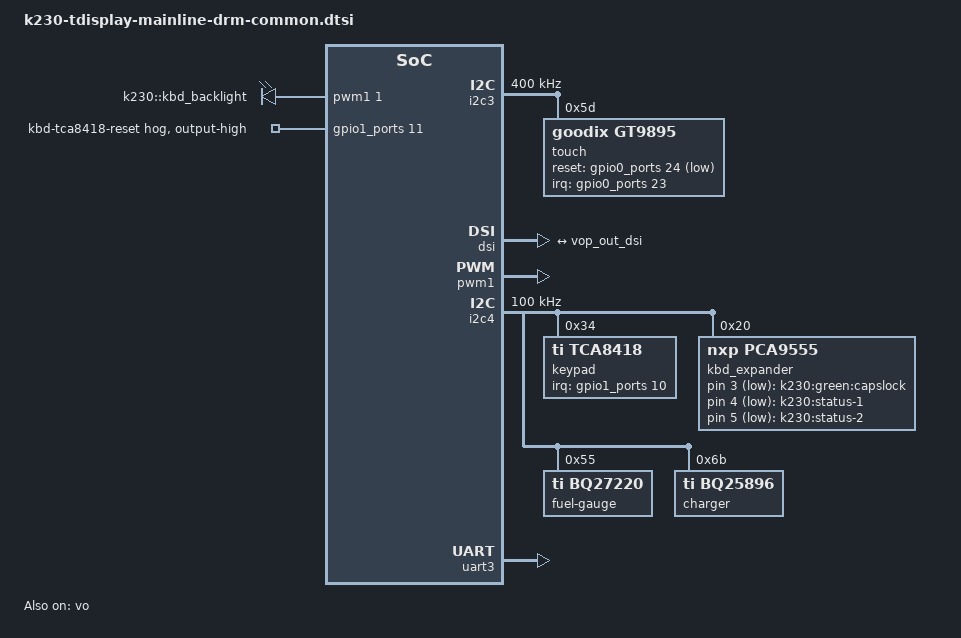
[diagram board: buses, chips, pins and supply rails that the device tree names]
// SPDX-License-Identifier: GPL-2.0 OR MIT
// Display and touch controllers shared by the mainline panel DTB
// (k230-tdisplay-mainline-drm.dts) and the mainline HDMI DTB
// (k230-tdisplay-mainline-drm-hdmi.dts). Include after k230-tdisplay-mainline.dts.

// Mainline's k230.dtsi currently has no display or I2C controller nodes.
// Register ranges, VO/DSI IRQ, and I2C3 range/IRQ follow the pinned vendor
// k230.dtsi (7d4e1f444f461dbe3833bd99a4640e7b6c2cd529). The K230 mainline
// clock driver exposes the named display and LS-I2C clocks in the included
// binding header. The imported Canaan VO/DSI code does not call clk_get() or
// reset_control_get(); it programs its display/PHY registers directly, so
// this DTS does not attach unused, guessed clock/reset phandles to those
// nodes. I2C3 uses the mainline I2C3 functional and APB clocks; its reset ID
// is available but the generic DesignWare I2C driver does not consume it.
// Board-level clocking, reset timing, pinmux, and display power behavior
// still require physical probe evidence.

/ {
	// Stage 1 scans this XRGB buffer until Linux owns the panel. The values
	// come from nix/boot-splash.nix through nix/device-tree-mainline-drm.nix's
	// preprocessor definitions, shared with U-Boot's Kconfig fragment and with
	// the vendor tree (nix/dts/k230-tdisplay.dts). Without this node the
	// kernel may allocate over the buffer. openspec/changes/
	// the-mainline-kernel-keeps-the-boot-splash task 1.1.
	reserved-memory {
		#address-cells = <2>;
		#size-cells = <2>;
		ranges;

		splash_framebuffer: framebuffer@K230_SPLASH_FRAMEBUFFER_UNIT_ADDRESS {
			reg = <0x0 K230_SPLASH_FRAMEBUFFER_ADDRESS
			       0x0 K230_SPLASH_FRAMEBUFFER_SIZE>;
			no-map;
		};
	};
};

/ {
	soc {
		// Vendor genpd controller; available only with the DRM kernel port.
		sysctl_power: power-controller@91103000 {
			compatible = "canaan, k230-sysctl-power";
			reg = <0x0 0x91103000 0x0 0x1000>;
			#power-domain-cells = <1>;
		};
		// Panel touch: vendor k230.dtsi's i2c3 controller node translated
		// to the real mainline K230 clock provider IDs. Upstream's DW I2C
		// platform driver accepts an unnamed functional clock and an
		// optional "pclk" interface clock.
		i2c3: i2c@91408000 {
			compatible = "snps,designware-i2c";
			reg = <0x0 0x91408000 0x0 0x1000>;
			interrupts = <24 IRQ_TYPE_LEVEL_HIGH>;
			#address-cells = <1>;
			#size-cells = <0>;
			clocks = <&sysclk K230_LS_I2C3_RATE>,
				 <&sysclk K230_LS_I2C3_APB_GATE>;
			clock-names = "ref", "pclk";
			clock-frequency = <400000>;
			status = "okay";

			touch: touchscreen@5d {
				compatible = "goodix,gt9895", "goodix,gt9916";
				reg = <0x5d>;
				reset-gpios = <&gpio0_ports 24 GPIO_ACTIVE_LOW>;
				interrupt-parent = <&gpio0_ports>;
				interrupts = <23 IRQ_TYPE_LEVEL_LOW>;
				/* The controller reports X 0..1079: a finger at the
				 * long edge hit raw 1079 on the second board
				 * (docs/evidence/panel-landscape/touch-range.md), and
				 * LILYGO's own tree gives panel-max-x 1060. 1024 lost
				 * the last 5% of the glass past the panel edge. */
				touchscreen-size-x = <1080>;
				touchscreen-size-y = <2400>;
			};
		};

		vo: vo@90840000 {
			compatible = "canaan,k230-vo";
			reg = <0x0 0x90840000 0x0 0x10000>;
			interrupts = <133 IRQ_TYPE_LEVEL_HIGH>;
			// Mainline gate ops let unused-clock cleanup turn these off;
			// the VO and DSI drivers must own them. Same 0x74 gates as
			// the vendor disp_hclk/disp_aclk/dpipclk tree.
			clocks = <&sysclk K230_DISPLAY_AHB_GATE>,
				 <&sysclk K230_DISPLAY_AXI_GATE>,
				 <&sysclk K230_DISPLAY_DPIP_GATE>;
			clock-names = "ahb", "axi", "pixel";
			status = "okay";
			background = <0xffffff>;
			vth_line = <10>;

			vo_out: port {
				#address-cells = <1>;
				#size-cells = <0>;
				vop_out_dsi: endpoint@0 {
					reg = <0>;
					remote-endpoint = <&dsi_in_vop>;
				};
			};
		};

		dsi: dsi@90850000 {
			compatible = "canaan,k230-mipi-dsi";
			reg = <0x0 0x90850000 0x0 0x1000>;
			#address-cells = <1>;
			#size-cells = <0>;
			clocks = <&sysclk K230_DISPLAY_AHB_GATE>,
				 <&sysclk K230_DISPLAY_CFG_GATE>,
				 <&sysclk K230_DISPLAY_REF_GATE>;
			clock-names = "ahb", "cfg", "ref";
			status = "okay";

			ports {
				#address-cells = <1>;
				#size-cells = <0>;
				port@0 {
					reg = <0>;
					dsi_in_vop: endpoint {
						remote-endpoint = <&vop_out_dsi>;
					};
				};
			};
		};
	};
};

// This logical DRM subsystem is not a child of the simple-bus SoC node: it
// has no MMIO range of its own. The VO endpoint is described below it.
/ {
	display: display-subsystem {
		compatible = "canaan,display-subsystem";
		power-domains = <&sysctl_power K230_PM_DOMAIN_DISP>;
		ports = <&vo_out>;
		status = "okay";
	};
};

#include <dt-bindings/input/input.h>

// Keyboard base I2C (openspec/changes/
// the-keyboard-base-types-lights-and-reports-its-battery). LILYGO's
// HARDWARE_PINMAP.md puts the base's charger, gauge, keypad and expander on
// IO46/IO47; machine_fpioa.c gives function 3 = IIC4_SCL/IIC4_SDA there.
// Stage 1 (vendor k230_canmv_v3p0.dts) leaves both pads as GPIO, so Linux
// muxes them here. The controller range, IRQ 25 and 400 kHz default follow
// the vendor DTB's i2c@91409000; the base runs at the 100 kHz LILYGO
// documents. Pad settings match LILYGO sensor_aht20_iomux_value(3) (0x19d1).
&pinctrl {
	// The keypad's interrupt (IO42, active low, open drain on the base) and
	// reset (IO43, active low). Stage 1 already leaves both as GPIO; naming
	// them here keeps that true whatever stage 1 does.
	tca8418_pins: tca8418-pins {
		tca8418-irq-cfg {
			pinmux = <K230_PINMUX(42, 0)>;
			power-source = <K230_MSC_3V3>;
			input-enable;
			bias-pull-up;
		};

		tca8418-reset-cfg {
			pinmux = <K230_PINMUX(43, 0)>;
			drive-strength = <4>;
			power-source = <K230_MSC_3V3>;
			output-enable;
			input-enable;
			bias-disable;
		};
	};

	// Key backlight (task 4.2): IO52 as PWM4 (function 2, IOMUX 0x1191 in
	// LILYGO's RT-Smart code), the second PWM block's channel 1.
	kbd_backlight_pins: kbd-backlight-pins {
		kbd-backlight-cfg {
			pinmux = <K230_PINMUX(52, 2)>;
			drive-strength = <4>;
			power-source = <K230_MSC_3V3>;
			output-enable;
			bias-disable;
		};
	};

	i2c4_pins: i2c4-pins {
		// Stage 1 also muxes IO7/IO8 to IIC4 (function 2). Release them so
		// only one pad pair drives the controller. UNVERIFIED: whether the
		// duplicate mux matters; the NACKs first seen here were recorded
		// with the base's protective film still over the pogo pins.
		i2c4-io7-io8-release-cfg {
			pinmux = <K230_PINMUX(7, 0)>, <K230_PINMUX(8, 0)>;
			power-source = <K230_MSC_3V3>;
			input-enable;
			bias-pull-down;
		};

		i2c4-scl-cfg {
			pinmux = <K230_PINMUX(46, 3)>;
			slew-rate = <0>;
			drive-strength = <8>;
			power-source = <K230_MSC_3V3>;
			input-enable;
			output-enable;
			bias-pull-up;
			input-schmitt-enable;
		};

		i2c4-sda-cfg {
			pinmux = <K230_PINMUX(47, 3)>;
			slew-rate = <0>;
			drive-strength = <8>;
			power-source = <K230_MSC_3V3>;
			input-enable;
			output-enable;
			bias-pull-up;
			input-schmitt-enable;
		};
	};
};

/ {
	soc {
		// PWM3-5 (vendor k230.dtsi pwm1@9140a040). Both blocks share the LS
		// PWM APB gate and reset; pwm0 is not used on this board.
		pwm1: pwm@9140a040 {
			compatible = "canaan,k230-pwm";
			reg = <0x0 0x9140a040 0x0 0x40>;
			clocks = <&sysclk K230_LS_PWM_APB_GATE>;
			resets = <&rst RST_PWM_APB>;
			#pwm-cells = <3>;
			status = "okay";
		};

		i2c4: i2c@91409000 {
			compatible = "snps,designware-i2c";
			reg = <0x0 0x91409000 0x0 0x1000>;
			interrupts = <25 IRQ_TYPE_LEVEL_HIGH>;
			#address-cells = <1>;
			#size-cells = <0>;
			clocks = <&sysclk K230_LS_I2C4_RATE>,
				 <&sysclk K230_LS_I2C4_APB_GATE>;
			clock-names = "ref", "pclk";
			// Stage 1 releases only i2c3 from reset; the DesignWare driver
			// deasserts a named reset at probe.
			resets = <&rst RST_I2C4>;
			clock-frequency = <100000>;
			pinctrl-names = "default";
			pinctrl-0 = <&i2c4_pins>;
			status = "okay";

			// Keyboard base keypad (task 3.1). Vendor codes and legends
			// come from LILYGO tca8418_key_name(); FN and FN-R are Level3
			// (RIGHTALT) for the k230-base xkb layout, LILYGO is Super.
			keypad@34 {
				compatible = "ti,tca8418";
				reg = <0x34>;
				pinctrl-names = "default";
				pinctrl-0 = <&tca8418_pins>;
				interrupts-extended = <&gpio1_ports 10 IRQ_TYPE_LEVEL_LOW>;
				keypad,num-rows = <7>;
				keypad,num-columns = <10>;
				keypad,autorepeat;
			// BEGIN generated by tools/keyboard-base-keymap.py
			linux,keymap =
				<MATRIX_KEY(0, 0, KEY_RIGHT)>,	/*  1 RIGHT */
				<MATRIX_KEY(0, 1, KEY_LEFT)>,	/*  2 LEFT */
				<MATRIX_KEY(0, 2, KEY_RIGHTALT)>,	/*  3 FN-R */
				<MATRIX_KEY(0, 4, KEY_SPACE)>,	/*  5 SPACE */
				<MATRIX_KEY(0, 5, KEY_TAB)>,	/*  6 TAB */
				<MATRIX_KEY(0, 6, KEY_LEFTSHIFT)>,	/*  7 SHIFT */
				<MATRIX_KEY(0, 7, KEY_LEFTMETA)>,	/*  8 LILYGO */
				<MATRIX_KEY(0, 8, KEY_RIGHTALT)>,	/*  9 FN */
				<MATRIX_KEY(0, 9, KEY_CAPSLOCK)>,	/* 10 CAPS */
				<MATRIX_KEY(1, 0, KEY_MICMUTE)>,	/* 11 MIC */
				<MATRIX_KEY(1, 1, KEY_DOWN)>,	/* 12 DOWN */
				<MATRIX_KEY(1, 2, KEY_M)>,	/* 13 M */
				<MATRIX_KEY(1, 3, KEY_SPACE)>,	/* 14 SPACE */
				<MATRIX_KEY(1, 4, KEY_V)>,	/* 15 V */
				<MATRIX_KEY(1, 5, KEY_C)>,	/* 16 C */
				<MATRIX_KEY(1, 6, KEY_X)>,	/* 17 X */
				<MATRIX_KEY(1, 7, KEY_Z)>,	/* 18 Z */
				<MATRIX_KEY(1, 8, KEY_LEFTALT)>,	/* 19 ALT */
				<MATRIX_KEY(1, 9, KEY_Q)>,	/* 20 Q */
				<MATRIX_KEY(2, 0, KEY_ENTER)>,	/* 21 ENTER */
				<MATRIX_KEY(2, 1, KEY_UP)>,	/* 22 UP */
				<MATRIX_KEY(2, 2, KEY_LEFTCTRL)>,	/* 23 CTRL */
				<MATRIX_KEY(2, 3, KEY_N)>,	/* 24 N */
				<MATRIX_KEY(2, 4, KEY_B)>,	/* 25 B */
				<MATRIX_KEY(2, 5, KEY_F)>,	/* 26 F */
				<MATRIX_KEY(2, 6, KEY_D)>,	/* 27 D */
				<MATRIX_KEY(2, 7, KEY_S)>,	/* 28 S */
				<MATRIX_KEY(2, 8, KEY_A)>,	/* 29 A */
				<MATRIX_KEY(3, 1, KEY_L)>,	/* 32 L */
				<MATRIX_KEY(3, 2, KEY_K)>,	/* 33 K */
				<MATRIX_KEY(3, 3, KEY_J)>,	/* 34 J */
				<MATRIX_KEY(3, 4, KEY_H)>,	/* 35 H */
				<MATRIX_KEY(3, 5, KEY_G)>,	/* 36 G */
				<MATRIX_KEY(3, 6, KEY_R)>,	/* 37 R */
				<MATRIX_KEY(3, 7, KEY_E)>,	/* 38 E */
				<MATRIX_KEY(3, 8, KEY_W)>,	/* 39 W */
				<MATRIX_KEY(3, 9, KEY_ESC)>,	/* 40 ESC */
				<MATRIX_KEY(4, 0, KEY_BACKSPACE)>,	/* 41 DEL */
				<MATRIX_KEY(4, 1, KEY_P)>,	/* 42 P */
				<MATRIX_KEY(4, 2, KEY_O)>,	/* 43 O */
				<MATRIX_KEY(4, 3, KEY_I)>,	/* 44 I */
				<MATRIX_KEY(4, 4, KEY_U)>,	/* 45 U */
				<MATRIX_KEY(4, 5, KEY_Y)>,	/* 46 Y */
				<MATRIX_KEY(4, 6, KEY_T)>,	/* 47 T */
				<MATRIX_KEY(4, 7, KEY_2)>,	/* 48 2 */
				<MATRIX_KEY(4, 8, KEY_1)>,	/* 49 1 */
				<MATRIX_KEY(4, 9, KEY_F1)>,	/* 50 F1 */
				<MATRIX_KEY(5, 0, KEY_0)>,	/* 51 0 */
				<MATRIX_KEY(5, 1, KEY_9)>,	/* 52 9 */
				<MATRIX_KEY(5, 2, KEY_8)>,	/* 53 8 */
				<MATRIX_KEY(5, 3, KEY_7)>,	/* 54 7 */
				<MATRIX_KEY(5, 4, KEY_6)>,	/* 55 6 */
				<MATRIX_KEY(5, 5, KEY_5)>,	/* 56 5 */
				<MATRIX_KEY(5, 6, KEY_4)>,	/* 57 4 */
				<MATRIX_KEY(5, 7, KEY_3)>,	/* 58 3 */
				<MATRIX_KEY(5, 8, KEY_F3)>,	/* 59 F3 */
				<MATRIX_KEY(5, 9, KEY_F2)>,	/* 60 F2 */
				<MATRIX_KEY(6, 0, KEY_F11)>,	/* 61 F11 */
				<MATRIX_KEY(6, 1, KEY_F10)>,	/* 62 F10 */
				<MATRIX_KEY(6, 2, KEY_F9)>,	/* 63 F9 */
				<MATRIX_KEY(6, 3, KEY_F8)>,	/* 64 F8 */
				<MATRIX_KEY(6, 4, KEY_F7)>,	/* 65 F7 */
				<MATRIX_KEY(6, 5, KEY_F6)>,	/* 66 F6 */
				<MATRIX_KEY(6, 6, KEY_F5)>,	/* 67 F5 */
				<MATRIX_KEY(6, 7, KEY_F4)>;	/* 68 F4 */
			// END generated by tools/keyboard-base-keymap.py
			};

			// XL9555 expander (task 3.3), register-compatible with the
			// PCA9555. Its INT line's wiring is unknown, so no interrupt.
			kbd_expander: gpio@20 {
				compatible = "nxp,pca9555";
				reg = <0x20>;
				gpio-controller;
				#gpio-cells = <2>;
			};

			// BQ27220 fuel gauge (task 5.1); read-only in bq27xxx.
			fuel-gauge@55 {
				compatible = "ti,bq27220";
				reg = <0x55>;
			};

			// BQ25896 charger (tasks 5.2, 5.2a). INT reaches no SoC GPIO,
			// so there is no interrupts property and the patched driver
			// polls. skip-reset and read-back-settings keep the charge
			// parameters the chip already holds; the values below are those
			// same register values (docs/evidence/keyboard-base/charger/),
			// for the binding only.
			charger@6b {
				compatible = "ti,bq25896";
				reg = <0x6b>;
				linux,skip-reset;
				linux,read-back-settings;
				ti,battery-regulation-voltage = <4288000>;
				ti,charge-current = <704000>;
				ti,termination-current = <256000>;
				ti,precharge-current = <128000>;
				ti,minimum-sys-voltage = <3500000>;
				ti,boost-voltage = <4998000>;
				ti,boost-max-current = <1400000>;
				ti,thermal-regulation-threshold = <120>;
			};
		};
	};
};

// IO43 is the keypad's active-low reset. The probe found it high with the
// keypad answering (docs/evidence/keyboard-base/probe/); the driver has no
// reset property, so the line is held released here.
&gpio1_ports {
	tca8418-reset-hog {
		gpio-hog;
		gpios = <11 GPIO_ACTIVE_HIGH>;
		output-high;
		line-name = "kbd-tca8418-reset";
	};
};

// nRF9151 on the keyboard base (openspec/changes/
// the-nrf9151-gives-the-handheld-cellular-sms-and-location). IO2 enables its
// 3.3 V supply (LILYGO rt_sample_display.cpp, "nRF9151 enable 3.3v");
// stage 1 leaves IO2 on JTAG_TCK with output disabled, so it is muxed to
// GPIO here and left for the modem service to drive. UART3 moves from
// IO50/IO51, where stage 1 puts it, to IO28/IO29 function 2 (LILYGO patch
// 0061); IO50/IO51 are released as inputs so only one pad pair feeds RXD.
&pinctrl {
	uart3_nrf_pins: uart3-nrf-pins {
		uart3-txd-cfg {
			pinmux = <K230_PINMUX(28, 2)>;
			drive-strength = <4>;
			power-source = <K230_MSC_3V3>;
			output-enable;
			bias-disable;
		};

		uart3-rxd-cfg {
			pinmux = <K230_PINMUX(29, 2)>;
			power-source = <K230_MSC_3V3>;
			input-enable;
			bias-pull-up;
		};

		uart3-io50-io51-release-cfg {
			pinmux = <K230_PINMUX(50, 0)>, <K230_PINMUX(51, 0)>;
			power-source = <K230_MSC_3V3>;
			input-enable;
			bias-pull-down;
		};
	};

	nrf9151_en_pins: nrf9151-en-pins {
		nrf9151-en-cfg {
			pinmux = <K230_PINMUX(2, 0)>;
			drive-strength = <8>;
			power-source = <K230_MSC_3V3>;
			output-enable;
			input-enable;
			bias-disable;
		};
	};
};

/ {
	aliases {
		serial3 = &uart3;
	};
};

&uart3 {
	pinctrl-names = "default";
	pinctrl-0 = <&uart3_nrf_pins>, <&nrf9151_en_pins>;
	status = "okay";
};

// Named so the modem service finds the enable line by name
// (gpioset nrf9151-enable=1, libgpiod 2) rather than by offset.
&gpio0_ports {
	gpio-line-names =
		"", "", "nrf9151-enable", "", "", "", "", "",
		"", "", "", "", "", "", "", "",
		"", "", "", "", "", "", "", "",
		"", "", "", "", "", "", "", "";
};

// Keyboard base LEDs. P0.3-P0.5 of the XL9555 are active low: LILYGO's
// RT-Smart driver writes 0xF7 to light Caps Lock (P0.3) and its Linux UI
// writes 0 to light each one (keyboard_ext.c, ui_hardware.c xl9555_set_led).
// IO52, the key backlight, is a pwm-leds entry below (task 4.2); the
// operator saw it light as an active-high GPIO (task 4.1).
/ {
	keyboard-base-leds {
		compatible = "gpio-leds";

		led-capslock {
			label = "k230:green:capslock";
			gpios = <&kbd_expander 3 GPIO_ACTIVE_LOW>;
			default-state = "off";
		};

		led-status-1 {
			label = "k230:status-1";
			gpios = <&kbd_expander 4 GPIO_ACTIVE_LOW>;
			default-state = "off";
		};

		led-status-2 {
			label = "k230:status-2";
			gpios = <&kbd_expander 5 GPIO_ACTIVE_LOW>;
			default-state = "off";
		};

	};

	// 20 kHz, above hearing. NORMAL polarity assumes the driver's reading of
	// the comparator (pwm-k230.c header, UNVERIFIED); if brightness 0 lights
	// the keys, PWM_POLARITY_INVERTED here flips it without a kernel change.
	keyboard-base-backlight {
		compatible = "pwm-leds";
		pinctrl-names = "default";
		pinctrl-0 = <&kbd_backlight_pins>;

		led-kbd-backlight {
			label = "k230::kbd_backlight";
			pwms = <&pwm1 1 50000 0>;
			max-brightness = <255>;
			default-state = "off";
		};
	};
};
